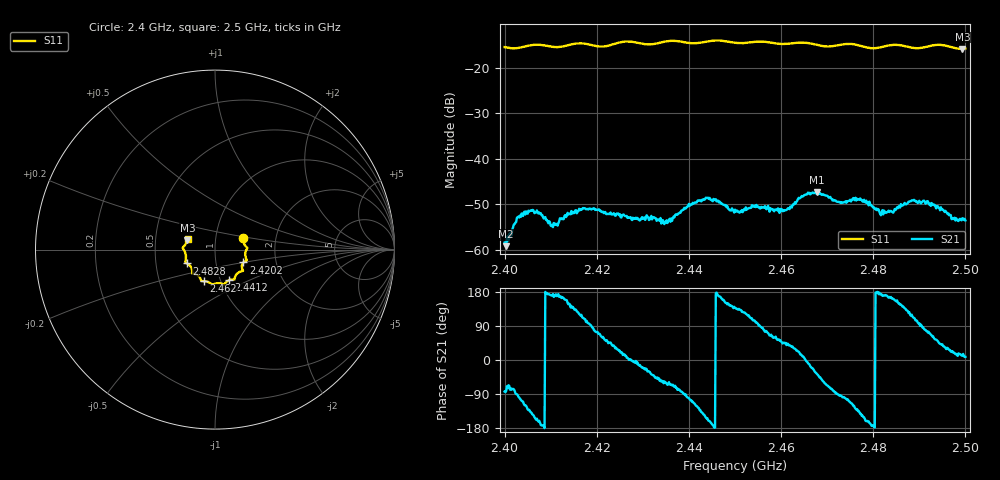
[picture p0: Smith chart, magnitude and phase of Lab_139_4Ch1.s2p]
# Hz S RI R 50
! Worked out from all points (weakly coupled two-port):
!   601 points, 2.4 GHz to 2.5 GHz, reference 50 ohm
!   highest |S21| = -47.30 dB at 2.4678 GHz (marker M1); lowest = -59.2 dB at 2.4003 GHz (marker M2)
!   lowest |S11| = -15.8 dB at 2.4993 GHz (marker M3), VSWR 1.39, Z = 36.5 + j3.88 ohm
!   |S11| at or under -10 dB: start of sweep to end of sweep
!   S12 and S22 are empty: the file has one direction only
!   S11 on the Smith chart (normalised r, x): 2.4 GHz: 1.36, +0.17; 2.4202 GHz: 1.36, -0.20; 2.4412 GHz: 1.09, -0.39; 2.462 GHz: 0.84, -0.30; 2.4828 GHz: 0.72, -0.11; 2.5 GHz: 0.73, +0.09
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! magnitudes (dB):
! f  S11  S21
! 2.4 GHz  -15.4  -58.4
! 2.4003 GHz  -15.5  -59.2
! 2.4042 GHz  -15.3  -51.9
! 2.4073 GHz  -14.9  -52.0
! 2.4105 GHz  -15.4  -55.0
! 2.4167 GHz  -14.6  -51.2
! 2.4202 GHz  -15.2  -51.2
! 2.4333 GHz  -14.5  -53.3
! 2.4358 GHz  -14.0  -53.2
! 2.4412 GHz  -14.5  -49.8
! 2.4442 GHz  -14.1  -48.6
! 2.45 GHz  -14.4  -51.2
! 2.462 GHz  -14.6  -50.5
! 2.4667 GHz  -14.6  -47.6
! 2.4678 GHz  -14.9  -47.3
! 2.4725 GHz  -15.0  -49.4
! 2.477 GHz  -15.0  -49.0
! 2.4828 GHz  -15.1  -51.9
! 2.4833 GHz  -15.0  -51.4
! 2.4913 GHz  -15.4  -49.9
! 2.4993 GHz  -15.8  -53.1
! 2.5 GHz  -15.7  -53.6
